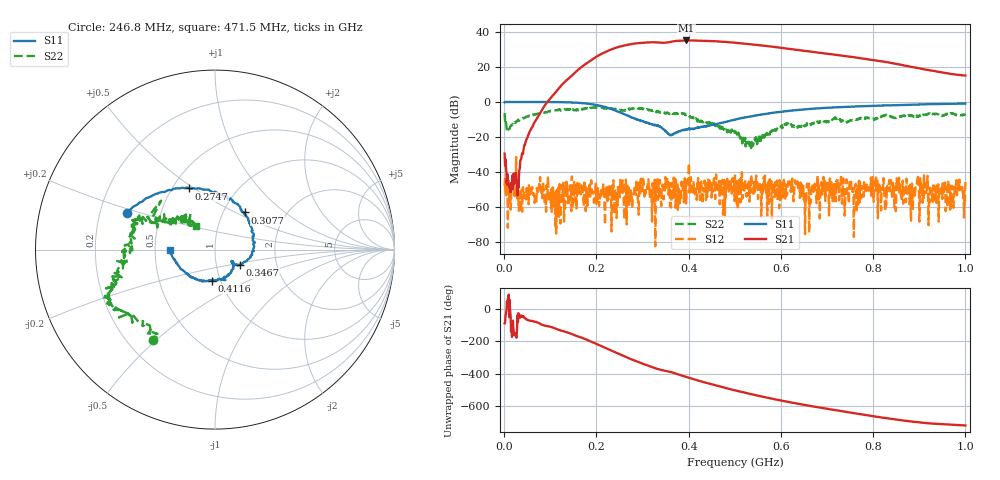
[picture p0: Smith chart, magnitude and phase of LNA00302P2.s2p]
! Created with skrf 1.9.0 (http://scikit-rf.org).
# Hz S RI R 50.0
!freq ReS11 ImS11 ReS21 ImS21 ReS12 ImS12 ReS22 ImS22
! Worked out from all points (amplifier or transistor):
!   1001 points, 1 MHz to 1 GHz, reference 50 ohm
!   highest |S21| = 35.0 dB at 394.6 MHz (marker M1)
!   |S21| within 3 dB of that: 257.9 MHz to 563.1 MHz (305.2 MHz wide, 74.4 % of centre)
!   unconditionally stable (mu >= 1): 226.8 MHz to 286.6 MHz; 286.9 MHz to 399.9 MHz; 400.9 MHz to end of sweep (the widest 3 of 28)
!   at 166.8 MHz: K = 0.80, MSG = 33.9 dB, |S12| = -48.2 dB
!   at 500.5 MHz: K = 1.34, MAG = 34.3 dB, |S12| = -41.8 dB
!   at 1 GHz: K = 2.23, MAG = 23.8 dB, |S12| = -45.1 dB
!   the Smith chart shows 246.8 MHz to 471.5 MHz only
!   S11 on the Smith chart (normalised r, x): 246.8 MHz: 0.32, +0.18; 274.7 MHz: 0.61, +0.48; 307.7 MHz: 1.26, +0.56; 346.7 MHz: 1.30, -0.23; 411.6 MHz: 0.91, -0.32; 471.5 MHz: 0.60, -0.00
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1000000  0.9746 0.00502  0.00117 -0.0339  0.00049 0.00407  0.3727 0.3054
1.08892e8  0.5146 -0.8478  -0.7924 -1.515  -0.00149 0.00254  0.4377 -0.3749
1.67833e8  -0.2503 -0.8932  -9.873 -0.5966  0.00202 -0.00368  0.0401 -0.6318
2.11789e8  -0.68 -0.3244  -15.17 18.11  0.00192 -0.00245  -0.1822 -0.6516
2.46754e8  -0.4883 0.2057  3.26 36.21  -0.000886 -0.00345  -0.3429 -0.5033
2.74726e8  -0.1432 0.341  27.89 34.09  0.000503 -0.00147  -0.5194 -0.3424
3.07693e8  0.1654 0.2069  47.59 12.22  -0.00253 0.00315  -0.5736 -0.1934
3.34666e8  0.2068 -0.0295  48.14 -10.66  0.000791 0.00463  -0.5025 -0.0741
3.46654e8  0.1373 -0.0859  45.12 -17.26  0.00113 0.00197  -0.5048 -0.0231
3.7063e8  0.101 -0.0806  42.92 -32.96  0.00352 0.00552  -0.4643 0.1379
3.94606e8  0.0521 -0.1519  28.03 -48.73  0.00124 -0.000371  -0.4041 0.1428
4.11589e8  -0.0181 -0.1722  14.88 -53.83  -0.00263 0.000988  -0.307 0.1855
4.39561e8  -0.1532 -0.133  -7.229 -54.17  0.00367 0.000859  -0.1798 0.1805
4.71529e8  -0.2526 -0.000732  -27.44 -43.92  0.00372 -0.00177  -0.1077 0.1336
5.005e8  -0.2696 0.1597  -38.9 -29.11  0.0065 -0.00482  -0.113 0.0703
5.39461e8  -0.1858 0.3493  -42.32 -7.928  0.000396 -0.00509  -0.051 -0.023
5.85415e8  0.0192 0.4958  -35.09 11.25  0.00325 -0.00191  -0.1354 -0.0726
6.25375e8  0.2104 0.5323  -24.03 20.14  -0.000411 -0.0024  -0.1756 -0.1258
6.67333e8  0.4097 0.4885  -12.54 23.4  0.00308 -0.00354  -0.2393 -0.0546
7.53247e8  0.682 0.2711  4.082 18.63  -0.00196 -0.00198  -0.2931 0.00737
8.34166e8  0.797 0.00981  9.809 8.872  -0.00275 -0.0038  -0.3971 0.0198
1e9  0.7271 -0.5263  5.637 -0.0863  -0.00177 0.0053  -0.2573 0.3204
